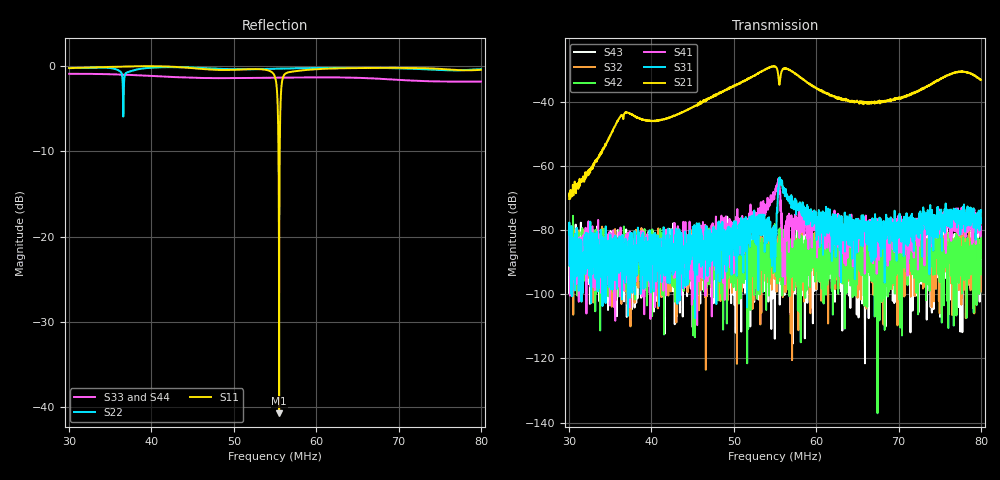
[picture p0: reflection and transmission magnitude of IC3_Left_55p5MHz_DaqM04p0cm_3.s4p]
#  HZ  S  DB  R  50.00
! Rohde & Schwarz Vector Network Analyzer
! Rohde-Schwarz,ZNB8-4Port,1311601044102961,2.82
! Created: UTC 2/13/2019, 9:18:34 AM
! freq[Hz]  db:S11  ang:S11  db:S12  ang:S12  db:S13  ang:S13  db:S14  ang:S14
!  db:S21  ang:S21  db:S22  ang:S22  db:S23  ang:S23  db:S24  ang:S24
!  db:S31  ang:S31  db:S32  ang:S32  db:S33  ang:S33  db:S34  ang:S34
!  db:S41  ang:S41  db:S42  ang:S42  db:S43  ang:S43  db:S44  ang:S44
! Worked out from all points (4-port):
!   2001 points, 30 MHz to 80 MHz, reference 50 ohm
!   strongest paths, dB at 30 MHz, 42.5 MHz, 55 MHz, 67.5 MHz, 80 MHz:
!     S21: -70.4, -44.7, -29.1, -40.2, -33.3
!     S31: -81.4, -91.8, -87.2, -77.5, -73.8
!     S41: -81.5, -91.8, -68.8, -88.2, -79.7
!     S42: -84.8, -97.5, -91.1, -87.1, -93.8
!     S32: -86.6, -88.5, -86.1, -92.7, -99.1
!     S43: -87.5, -83.6, -86.6, -88.7, -93.5
!   lowest |S11| = -40.7 dB at 55.5 MHz (marker M1), VSWR 1.02, Z = 50.9 + j0.0915 ohm
!   |S11| at or under -10 dB: 55.42076 MHz to 55.57417 MHz (153.4 kHz wide, 0.276 % of centre)
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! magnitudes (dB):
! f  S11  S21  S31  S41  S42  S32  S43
! 30 MHz  -0.3  -70.4  -81.4  -81.5  -84.8  -86.6  -87.5
! 36.9 MHz  -0.1  -43.4  -88.8  -94.5  -81.2  -98.8  -96.9
! 54.92 MHz  -1.1  -29.1  -85.5  -69.9  -88.4  -88.9  -82.9
! 55.5 MHz  -40.7  -34.4  -64.4  -65.6  -92.7  -93.9  -82.7
! 56.1 MHz  -1.1  -29.7  -67.0  -84.1  -83.2  -96.0  -94.1
! 63.17 MHz  -0.3  -39.4  -83.1  -79.1  -88.8  -89.6  -111.3
! 80 MHz  -0.5  -33.3  -73.8  -79.7  -93.8  -99.1  -93.5
